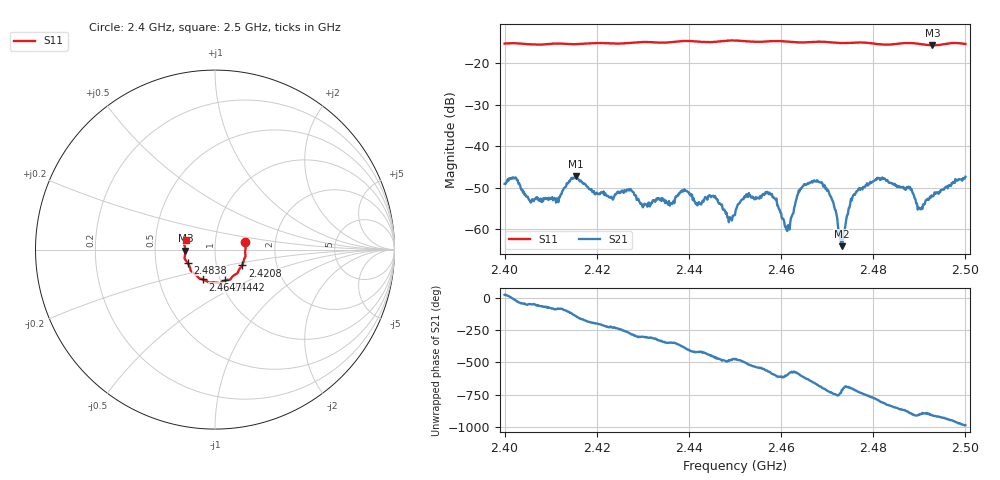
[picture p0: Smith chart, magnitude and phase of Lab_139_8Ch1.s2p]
# Hz S RI R 50
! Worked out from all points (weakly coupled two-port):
!   601 points, 2.4 GHz to 2.5 GHz, reference 50 ohm
!   highest |S21| = -47.25 dB at 2.4155 GHz (marker M1); lowest = -64.1 dB at 2.4732 GHz (marker M2)
!   lowest |S11| = -15.6 dB at 2.4928 GHz (marker M3), VSWR 1.40, Z = 35.8 - j0.422 ohm
!   |S11| at or under -10 dB: start of sweep to end of sweep
!   S12 and S22 are empty: the file has one direction only
!   S11 on the Smith chart (normalised r, x): 2.4 GHz: 1.40, +0.12; 2.4208 GHz: 1.33, -0.24; 2.4442 GHz: 1.05, -0.37; 2.4647 GHz: 0.83, -0.29; 2.4838 GHz: 0.73, -0.11; 2.5 GHz: 0.71, +0.07
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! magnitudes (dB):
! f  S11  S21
! 2.4 GHz  -15.2  -49.1
! 2.4112 GHz  -15.2  -53.6
! 2.4155 GHz  -15.3  -47.2
! 2.4167 GHz  -15.3  -48.5
! 2.4208 GHz  -15.1  -51.3
! 2.4333 GHz  -15.0  -52.5
! 2.4442 GHz  -14.9  -52.0
! 2.45 GHz  -14.5  -56.6
! 2.4525 GHz  -14.7  -51.6
! 2.4572 GHz  -14.7  -51.2
! 2.4613 GHz  -14.7  -60.4
! 2.4647 GHz  -14.9  -49.7
! 2.4667 GHz  -14.8  -48.4
! 2.4703 GHz  -14.9  -50.9
! 2.4732 GHz  -15.1  -64.1
! 2.4762 GHz  -15.0  -51.4
! 2.4833 GHz  -15.5  -48.7
! 2.4838 GHz  -15.4  -48.8
! 2.4878 GHz  -15.1  -50.1
! 2.4902 GHz  -15.3  -55.1
! 2.4928 GHz  -15.6  -52.0
! 2.5 GHz  -15.3  -47.3
